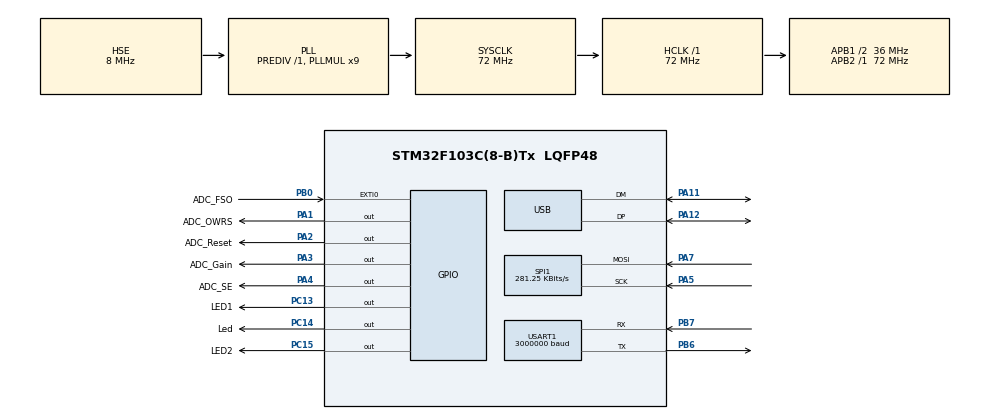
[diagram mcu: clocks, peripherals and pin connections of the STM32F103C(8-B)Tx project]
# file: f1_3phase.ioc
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Dma.Request0=SPI1_RX
Dma.Request1=USART1_TX
Dma.SPI1_RX.0.Direction=DMA_PERIPH_TO_MEMORY
Dma.SPI1_RX.0.Instance=DMA1_Channel2
Dma.SPI1_RX.0.MemDataAlignment=DMA_MDATAALIGN_HALFWORD
Dma.SPI1_RX.0.MemInc=DMA_MINC_ENABLE
Dma.SPI1_RX.0.Mode=DMA_CIRCULAR
Dma.SPI1_RX.0.PeriphDataAlignment=DMA_PDATAALIGN_HALFWORD
Dma.SPI1_RX.0.PeriphInc=DMA_PINC_DISABLE
Dma.SPI1_RX.0.Priority=DMA_PRIORITY_LOW
Dma.USART1_TX.1.Direction=DMA_MEMORY_TO_PERIPH
Dma.USART1_TX.1.Instance=DMA1_Channel4
Dma.USART1_TX.1.MemDataAlignment=DMA_MDATAALIGN_BYTE
Dma.USART1_TX.1.MemInc=DMA_MINC_ENABLE
Dma.USART1_TX.1.Mode=DMA_NORMAL
Dma.USART1_TX.1.PeriphDataAlignment=DMA_PDATAALIGN_BYTE
Dma.USART1_TX.1.PeriphInc=DMA_PINC_DISABLE
Dma.USART1_TX.1.Priority=DMA_PRIORITY_LOW
Mcu.Family=STM32F1
Mcu.Name=STM32F103C(8-B)Tx
Mcu.Package=LQFP48
NVIC.DMA1_Channel2_IRQn=true\:0\:0\:false\:false\:true\:true\:true
NVIC.DMA1_Channel4_IRQn=true\:0\:0\:false\:false\:true\:true\:true
NVIC.EXTI0_IRQn=true\:0\:0\:false\:false\:true\:true\:true
NVIC.PriorityGroup=NVIC_PRIORITYGROUP_4
NVIC.SPI1_IRQn=true\:0\:0\:false\:false\:true\:true\:true
NVIC.USART1_IRQn=true\:0\:0\:false\:false\:true\:true\:true
NVIC.USB_LP_CAN1_RX0_IRQn=true\:0\:0\:false\:false\:true\:true\:true
PA1.GPIO_Label=ADC_OWRS
PA1.Signal=GPIO_Output
PA11.Mode=Device
PA11.Signal=USB_DM
PA12.Mode=Device
PA12.Signal=USB_DP
PA13.Mode=Serial_Wire
PA13.Signal=SYS_JTMS-SWDIO
PA14.Mode=Serial_Wire
PA14.Signal=SYS_JTCK-SWCLK
PA2.GPIO_Label=ADC_Reset
PA2.Signal=GPIO_Output
PA3.GPIO_Label=ADC_Gain
PA3.Signal=GPIO_Output
PA4.GPIO_Label=ADC_SE
PA4.Signal=GPIO_Output
PA5.GPIO_PuPd=GPIO_PULLDOWN
PA5.Mode=RX_Only_Simplex_Unidirect_Slave
PA5.Signal=SPI1_SCK
PA7.Mode=RX_Only_Simplex_Unidirect_Slave
PA7.Signal=SPI1_MOSI
PB0.GPIO_Label=ADC_FSO
PB0.Signal=GPXTI0
PB6.Mode=Asynchronous
PB6.Signal=USART1_TX
PB7.Mode=Asynchronous
PB7.Signal=USART1_RX
PC13-TAMPER-RTC.GPIO_Label=LED1
PC13-TAMPER-RTC.Signal=GPIO_Output
PC14-OSC32_IN.GPIO_Label=Led
PC14-OSC32_IN.Signal=GPIO_Output
PC15-OSC32_OUT.GPIO_Label=LED2
PC15-OSC32_OUT.Signal=GPIO_Output
PD0-OSC_IN.Mode=HSE-External-Oscillator
PD0-OSC_IN.Signal=RCC_OSC_IN
PD1-OSC_OUT.Mode=HSE-External-Oscillator
PD1-OSC_OUT.Signal=RCC_OSC_OUT
ProjectManager.HeapSize=0x800
ProjectManager.StackSize=0x400
ProjectManager.TargetToolchain=Makefile
RCC.AHBFreq_Value=72000000
RCC.APB1CLKDivider=RCC_HCLK_DIV2
RCC.APB1Freq_Value=36000000
RCC.APB1TimFreq_Value=72000000
RCC.APB2Freq_Value=72000000
RCC.APB2TimFreq_Value=72000000
RCC.HCLKFreq_Value=72000000
RCC.PLLMUL=RCC_PLL_MUL9
RCC.PLLSourceVirtual=RCC_PLLSOURCE_HSE
RCC.RCC_MCOSource=RCC_MCO1SOURCE_HSE
RCC.SYSCLKFreq_VALUE=72000000
RCC.SYSCLKSource=RCC_SYSCLKSOURCE_PLLCLK
RCC.USBFreq_Value=48000000
RCC.USBPrescaler=RCC_USBCLKSOURCE_PLL_DIV1_5
SPI1.BaudRatePrescaler=SPI_BAUDRATEPRESCALER_256
SPI1.CLKPolarity=SPI_POLARITY_LOW
SPI1.CalculateBaudRate=281.25 KBits/s
SPI1.DataSize=SPI_DATASIZE_16BIT
SPI1.Direction=SPI_DIRECTION_2LINES_RXONLY
SPI1.Mode=SPI_MODE_SLAVE
SPI1.VirtualType=VM_SLAVE
TIM1.AutoReloadPreload=TIM_AUTORELOAD_PRELOAD_DISABLE
TIM1.Period=36000
TIM1.Prescaler=2000
USART1.BaudRate=3000000
USART1.VirtualMode=VM_ASYNC
USB_DEVICE.CLASS_NAME_FS=CDC
USB_DEVICE.VirtualMode=Cdc
USB_DEVICE.VirtualModeFS=Cdc_FS
VP_TIM1_VS_ClockSourceINT.Mode=Internal
VP_USB_DEVICE_VS_USB_DEVICE_CDC_FS.Mode=CDC_FS
board=f1_3phase

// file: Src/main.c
/* USER CODE BEGIN Header */
/**
  ******************************************************************************
  * @file           : main.c
  * @brief          : Main program body
  ******************************************************************************
  * @attention
  *
  * <h2><center>&copy; Copyright (c) 2019 STMicroelectronics.
  * All rights reserved.</center></h2>
  *
  * This software component is licensed by ST under Ultimate Liberty license
  * SLA0044, the "License"; You may not use this file except in compliance with
  * the License. You may obtain a copy of the License at:
  *                             www.st.com/SLA0044
  *
  ******************************************************************************
  */
/* USER CODE END Header */

#include "main.h"
#include "usb_device.h"

/* USER CODE BEGIN Includes */

#include <math.h>

#include "cs5451.h"
#include "usbd_cdc_if.h"

/* USER CODE END Includes */

SPI_HandleTypeDef hspi1;
DMA_HandleTypeDef hdma_spi1_rx;

TIM_HandleTypeDef htim1;

UART_HandleTypeDef huart1;
DMA_HandleTypeDef hdma_usart1_tx;

/* USER CODE BEGIN PV */
/* Private variables ---------------------------------------------------------*/

volatile int16_t adc_data[12];
volatile uint32_t ready = 0;
volatile uint32_t interrupt_count = 0;
volatile uint8_t usart_buf[16];
uint8_t out_mode = 2; // 0 - bin, 1 - text, 2 - rms
uint8_t out_on = 1;
int64_t rms_sum[6];
volatile uint8_t adc_se = 1;
volatile uint8_t adc_reset = 1;
volatile uint8_t usb_buf[8];
volatile uint8_t *cur_ptr = usb_buf;

int __errno;

/* USER CODE END PV */

void SystemClock_Config(void);
static void MX_GPIO_Init(void);
static void MX_DMA_Init(void);
static void MX_SPI1_Init(void);
static void MX_TIM1_Init(void);
static void MX_USART1_UART_Init(void);
/* USER CODE BEGIN PFP */
/* Private function prototypes -----------------------------------------------*/

/* USER CODE END PFP */

/* USER CODE BEGIN 0 */

/* TODO:
 * попробовать сделать дополнительную подтяжку вниз для линии SCK
 * попробовать переинициализировать SPI по сигналу FSO от CS5451
 */

void HAL_GPIO_EXTI_Callback (uint16_t GPIO_Pin)
{
	return;
	RCC->APB2RSTR |= RCC_APB2RSTR_SPI1RST;
	RCC->APB2RSTR &= ~RCC_APB2RSTR_SPI1RST;

	HAL_GPIO_TogglePin(Led_GPIO_Port, LED1_Pin);
	spi1_init();

	HAL_GPIO_TogglePin(Led_GPIO_Port, LED1_Pin);
//HAL_SPI_DMAResume(&hspi1);
}

void HAL_SPI_RxCpltCallback( SPI_HandleTypeDef *hspi)
{
	ready = 1;
	interrupt_count++;
	//HAL_SPI_DMAPause(&hspi1);
}

void parse_cmd(const uint8_t *cmd)
{
	uint8_t cmd_arg = cmd[1] - '0';;
	GPIOB->ODR ^= 0x2000;
		if( cmd[0] == 'a')
		{
				// reset control
				if( cmd_arg == 0 )
				{
					adc_reset = 1;
				}
				else
				{
					cs5451_reset(cmd[1] - '0');
					adc_reset=0;
					interrupt_count = 0;
				}
		}
		else if( cmd[0] == 'b' )
		{
				// SE control
				if( cmd_arg == 1)
				{
					cs5451_se(1);
					adc_se=1;
				}
				else
					adc_se = 0;
		}
		else if( cmd[0] == 'c' )
		{
				// OWRS control
				cs5451_owrs(cmd[1] - '0');
		}
		else if( cmd[0] == 'd' )
		{
				// gain control
				cs5451_gain(cmd[1] - '0');
		}
		else if( cmd[0] == 'e' )
		{
				// bin/text control
				out_mode = cmd[1] - '0';
		}
		else if( cmd[0] == 'f' )
		{
				// data out on/off
				out_on = cmd[1] - '0';
		}
	HAL_GPIO_TogglePin(Led_GPIO_Port, LED2_Pin);
}

void HAL_UART_RxCpltCallback (UART_HandleTypeDef *husart)
{
	parse_cmd(usart_buf);
		HAL_UART_Receive_IT(&huart1, (uint8_t*)usart_buf, 2);
}

void print_s(const char *s)
{
	HAL_UART_Transmit_DMA(&huart1, (uint8_t*)(s), strlen(s));
}

void spi1_init(void)
{
	SPI1->CR1 = SPI_CR1_DFF | SPI_CR1_RXONLY | SPI_CR1_SSM | SPI_CR1_BR;
	SPI1->CR2 = SPI_CR2_ERRIE | SPI_CR2_RXDMAEN;
}

void parse_cmd_buffer( uint8_t *buffer)
{
	parse_cmd(buffer);
	if( buffer[5] == '\n' )
	{
		parse_cmd(buffer+3);
		buffer[5] = 0;
	}
}

/* USER CODE END 0 */

int main(void)
{
  /* USER CODE BEGIN 1 */

	char buffer[100];
	int16_t adc_buf[8];
	int32_t rms_vals[6];
	int rms_count = 0;
	const int RMS_COUNT1 = 39;
	uint32_t count=0;
	int len = 0;;
	int i;

  /* USER CODE END 1 */

  /* MCU Configuration--------------------------------------------------------*/

  /* Reset of all peripherals, Initializes the Flash interface and the Systick. */
  HAL_Init();

  /* USER CODE BEGIN Init */

  HAL_SPI_MspInit(&hspi1);

  /* USER CODE END Init */

  /* Configure the system clock */
  SystemClock_Config();

  /* Initialize all configured peripherals */
  MX_GPIO_Init();
  MX_DMA_Init();
  MX_SPI1_Init();
  MX_TIM1_Init();
  MX_USART1_UART_Init();
  MX_USB_DEVICE_Init();
  /* USER CODE BEGIN 2 */

	HAL_TIM_Base_Start(&htim1);

	print_s("wait 4s\r\n");
	HAL_Delay(4000);

	cs5451_gain(1); // unity gain
	cs5451_owrs(1);
	cs5451_reset(1);
	HAL_Delay(100);
	HAL_UART_Receive_IT(&huart1, (uint8_t*)usart_buf, 2);
	HAL_SPI_Receive_DMA(&hspi1, (uint8_t*)adc_data, 12);
	cs5451_se(adc_se);
	print_s("started\r\n");
	CDC_Transmit_FS((uint8_t *)"u\r\n", 3);
	HAL_GPIO_TogglePin(Led_GPIO_Port, LED2_Pin);

  /* USER CODE END 2 */

  /* Infinite loop */
	while (1)
	{

    /* USER CODE BEGIN 3 */
		if( __HAL_TIM_GET_FLAG(&htim1, TIM_FLAG_UPDATE) )
		{
			__HAL_TIM_CLEAR_FLAG(&htim1, TIM_FLAG_UPDATE);
			sprintf(buffer, "%d\r\n", (uint8_t)(cur_ptr-usb_buf));
			print_s(buffer);
		}

		if( *cur_ptr == '\n' )
		{
			parse_cmd_buffer(usb_buf);
			*cur_ptr = 0;
			print_s(usb_buf);
			sprintf(buffer, "%d\r\n", (uint8_t)(cur_ptr-usb_buf));
			print_s(buffer);

			cur_ptr = usb_buf;
//			HAL_GPIO_TogglePin(Led_GPIO_Port, LED1_Pin);
		}

		if( ready )
		{
			ready = 0;
			if( adc_se == 0 )
			{
				cs5451_se(0);
			}
			if( adc_reset )
			{
				cs5451_reset(0);
			}

			__disable_irq();
			memcpy(adc_buf, (void*)adc_data, sizeof(adc_data));
			__enable_irq();
			count+=1;

			if( out_on )
			{
					switch(out_mode )
					{
					case 1:
					{

							len = sprintf(buffer, "%04hX%04hX%04hX%04hX%04hX%04hX\r\n", adc_buf[0], adc_buf[1], adc_buf[2],
										adc_buf[3], adc_buf[4], adc_buf[5]);
					}
					break;
					case 0:
					{
							buffer[0] = 0;
							buffer[1] = 0;
							memcpy(buffer+2, (void*)adc_buf, sizeof(adc_data));
							buffer[14] = 0;
							buffer[15] = 0;
							len = 16;
					}
					break;
					case 2:
						for(i=0; i<6; ++i)
						{
								rms_sum[i] += adc_buf[i]*adc_buf[i];
						}
						++rms_count;
						if(rms_count == RMS_COUNT1)
						{
								rms_count=0;
								for( i=0; i<6; ++i)
								{
										rms_vals[i] = (uint16_t)(sqrtf((float)(rms_sum[i])/RMS_COUNT1)*0.60999f);
										rms_sum[i] = 0;
								}
							len = sprintf(buffer, "%ld %6ld %6ld %6ld %6ld %6ld %6ld\r\n", count, rms_vals[0], rms_vals[1], rms_vals[2],
										rms_vals[3], rms_vals[4], rms_vals[5]);

						}
						else
						{
								len = 0;
						}

					break;
					case 3:
						*(uint32_t*)(&buffer) = count;
						memcpy(buffer+4, (void*)adc_buf, sizeof(adc_data));

						len = 16;
					break;
					}

					if( len)//  && interrupt_count < 40)
					{
					//	HAL_UART_Transmit_DMA(&huart1, (uint8_t*)(buffer), len);
						CDC_Transmit_FS((uint8_t *)buffer, len);
					}
			}

		}

		}
  /* USER CODE END 3 */
}

void SystemClock_Config(void)
{
  RCC_OscInitTypeDef RCC_OscInitStruct = {0};
  RCC_ClkInitTypeDef RCC_ClkInitStruct = {0};
  RCC_PeriphCLKInitTypeDef PeriphClkInit = {0};

  /** Initializes the CPU, AHB and APB busses clocks
  */
  RCC_OscInitStruct.OscillatorType = RCC_OSCILLATORTYPE_HSE;
  RCC_OscInitStruct.HSEState = RCC_HSE_ON;
  RCC_OscInitStruct.HSEPredivValue = RCC_HSE_PREDIV_DIV1;
  RCC_OscInitStruct.HSIState = RCC_HSI_ON;
  RCC_OscInitStruct.PLL.PLLState = RCC_PLL_ON;
  RCC_OscInitStruct.PLL.PLLSource = RCC_PLLSOURCE_HSE;
  RCC_OscInitStruct.PLL.PLLMUL = RCC_PLL_MUL9;
  if (HAL_RCC_OscConfig(&RCC_OscInitStruct) != HAL_OK)
  {
    Error_Handler();
  }
  /** Initializes the CPU, AHB and APB busses clocks
  */
  RCC_ClkInitStruct.ClockType = RCC_CLOCKTYPE_HCLK|RCC_CLOCKTYPE_SYSCLK
                              |RCC_CLOCKTYPE_PCLK1|RCC_CLOCKTYPE_PCLK2;
  RCC_ClkInitStruct.SYSCLKSource = RCC_SYSCLKSOURCE_PLLCLK;
  RCC_ClkInitStruct.AHBCLKDivider = RCC_SYSCLK_DIV1;
  RCC_ClkInitStruct.APB1CLKDivider = RCC_HCLK_DIV2;
  RCC_ClkInitStruct.APB2CLKDivider = RCC_HCLK_DIV1;

  if (HAL_RCC_ClockConfig(&RCC_ClkInitStruct, FLASH_LATENCY_2) != HAL_OK)
  {
    Error_Handler();
  }
  PeriphClkInit.PeriphClockSelection = RCC_PERIPHCLK_USB;
  PeriphClkInit.UsbClockSelection = RCC_USBCLKSOURCE_PLL_DIV1_5;
  if (HAL_RCCEx_PeriphCLKConfig(&PeriphClkInit) != HAL_OK)
  {
    Error_Handler();
  }
}

static void MX_SPI1_Init(void)
{

  /* SPI1 parameter configuration*/
  hspi1.Instance = SPI1;
  hspi1.Init.Mode = SPI_MODE_SLAVE;
  hspi1.Init.Direction = SPI_DIRECTION_2LINES_RXONLY;
  hspi1.Init.DataSize = SPI_DATASIZE_16BIT;
  hspi1.Init.CLKPolarity = SPI_POLARITY_LOW;
  hspi1.Init.CLKPhase = SPI_PHASE_1EDGE;
  hspi1.Init.NSS = SPI_NSS_SOFT;
  hspi1.Init.BaudRatePrescaler = SPI_BAUDRATEPRESCALER_256;
  hspi1.Init.FirstBit = SPI_FIRSTBIT_MSB;
  hspi1.Init.TIMode = SPI_TIMODE_DISABLE;
  hspi1.Init.CRCCalculation = SPI_CRCCALCULATION_DISABLE;
  hspi1.Init.CRCPolynomial = 10;
  if (HAL_SPI_Init(&hspi1) != HAL_OK)
  {
    Error_Handler();
  }

}

static void MX_TIM1_Init(void)
{

  TIM_ClockConfigTypeDef sClockSourceConfig = {0};
  TIM_MasterConfigTypeDef sMasterConfig = {0};

  htim1.Instance = TIM1;
  htim1.Init.Prescaler = 2000;
  htim1.Init.CounterMode = TIM_COUNTERMODE_UP;
  htim1.Init.Period = 36000;
  htim1.Init.ClockDivision = TIM_CLOCKDIVISION_DIV1;
  htim1.Init.RepetitionCounter = 0;
  htim1.Init.AutoReloadPreload = TIM_AUTORELOAD_PRELOAD_DISABLE;
  if (HAL_TIM_Base_Init(&htim1) != HAL_OK)
  {
    Error_Handler();
  }
  sClockSourceConfig.ClockSource = TIM_CLOCKSOURCE_INTERNAL;
  if (HAL_TIM_ConfigClockSource(&htim1, &sClockSourceConfig) != HAL_OK)
  {
    Error_Handler();
  }
  sMasterConfig.MasterOutputTrigger = TIM_TRGO_RESET;
  sMasterConfig.MasterSlaveMode = TIM_MASTERSLAVEMODE_DISABLE;
  if (HAL_TIMEx_MasterConfigSynchronization(&htim1, &sMasterConfig) != HAL_OK)
  {
    Error_Handler();
  }

}

static void MX_USART1_UART_Init(void)
{

  huart1.Instance = USART1;
  huart1.Init.BaudRate = 3000000;
  huart1.Init.WordLength = UART_WORDLENGTH_8B;
  huart1.Init.StopBits = UART_STOPBITS_1;
  huart1.Init.Parity = UART_PARITY_NONE;
  huart1.Init.Mode = UART_MODE_TX_RX;
  huart1.Init.HwFlowCtl = UART_HWCONTROL_NONE;
  huart1.Init.OverSampling = UART_OVERSAMPLING_16;
  if (HAL_UART_Init(&huart1) != HAL_OK)
  {
    Error_Handler();
  }

}

static void MX_DMA_Init(void)
{

  /* DMA controller clock enable */
  __HAL_RCC_DMA1_CLK_ENABLE();

  /* DMA interrupt init */
  /* DMA1_Channel2_IRQn interrupt configuration */
  HAL_NVIC_SetPriority(DMA1_Channel2_IRQn, 0, 0);
  HAL_NVIC_EnableIRQ(DMA1_Channel2_IRQn);
  /* DMA1_Channel4_IRQn interrupt configuration */
  HAL_NVIC_SetPriority(DMA1_Channel4_IRQn, 0, 0);
  HAL_NVIC_EnableIRQ(DMA1_Channel4_IRQn);

}

static void MX_GPIO_Init(void)
{
  GPIO_InitTypeDef GPIO_InitStruct = {0};

  /* GPIO Ports Clock Enable */
  __HAL_RCC_GPIOC_CLK_ENABLE();
  __HAL_RCC_GPIOD_CLK_ENABLE();
  __HAL_RCC_GPIOA_CLK_ENABLE();
  __HAL_RCC_GPIOB_CLK_ENABLE();

  /*Configure GPIO pin Output Level */
  HAL_GPIO_WritePin(GPIOC, LED1_Pin|Led_Pin|LED2_Pin, GPIO_PIN_RESET);

  /*Configure GPIO pin Output Level */
  HAL_GPIO_WritePin(GPIOA, ADC_OWRS_Pin|ADC_Reset_Pin|ADC_Gain_Pin|ADC_SE_Pin, GPIO_PIN_RESET);

  /*Configure GPIO pins : LED1_Pin Led_Pin LED2_Pin */
  GPIO_InitStruct.Pin = LED1_Pin|Led_Pin|LED2_Pin;
  GPIO_InitStruct.Mode = GPIO_MODE_OUTPUT_PP;
  GPIO_InitStruct.Pull = GPIO_NOPULL;
  GPIO_InitStruct.Speed = GPIO_SPEED_FREQ_LOW;
  HAL_GPIO_Init(GPIOC, &GPIO_InitStruct);

  /*Configure GPIO pins : ADC_OWRS_Pin ADC_Reset_Pin ADC_Gain_Pin ADC_SE_Pin */
  GPIO_InitStruct.Pin = ADC_OWRS_Pin|ADC_Reset_Pin|ADC_Gain_Pin|ADC_SE_Pin;
  GPIO_InitStruct.Mode = GPIO_MODE_OUTPUT_PP;
  GPIO_InitStruct.Pull = GPIO_NOPULL;
  GPIO_InitStruct.Speed = GPIO_SPEED_FREQ_LOW;
  HAL_GPIO_Init(GPIOA, &GPIO_InitStruct);

  /*Configure GPIO pin : ADC_FSO_Pin */
  GPIO_InitStruct.Pin = ADC_FSO_Pin;
  GPIO_InitStruct.Mode = GPIO_MODE_IT_RISING;
  GPIO_InitStruct.Pull = GPIO_NOPULL;
  HAL_GPIO_Init(ADC_FSO_GPIO_Port, &GPIO_InitStruct);

  /* EXTI interrupt init*/
  HAL_NVIC_SetPriority(EXTI0_IRQn, 0, 0);
  HAL_NVIC_EnableIRQ(EXTI0_IRQn);

}

void Error_Handler(void)
{
		while(1)
		{
		}
}

/************************ (C) COPYRIGHT STMicroelectronics *****END OF FILE****/
